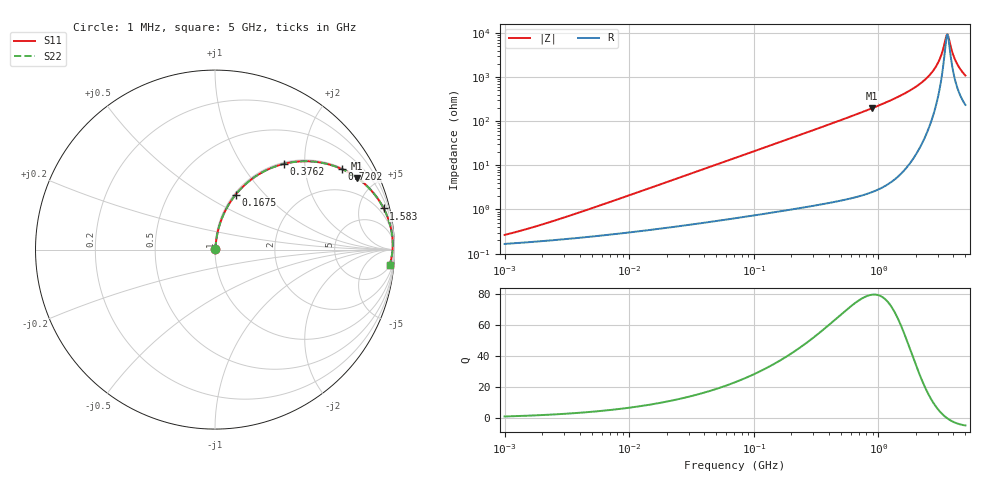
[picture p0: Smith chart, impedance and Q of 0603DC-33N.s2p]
# MHz  S  MA  R  50
!Freq  MagS11  AngS11  MagS21  AngS21  MagS12  AngS12  MagS22  AngS22
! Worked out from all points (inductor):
!   801 points, 1 MHz to 5 GHz, reference 50 ohm
!   read as one part in series: L = 33 nH near 3.091 MHz
!   highest Q = 79.5 at 891.1 MHz (marker M1), where L = 35.2 nH
!   self-resonance near 3.556 GHz
!   S11 on the Smith chart (normalised r, x): 1 MHz: 1.00, +0.00; 167.5 MHz: 1.02, +0.70; 376.2 MHz: 1.03, +1.58; 720.2 MHz: 1.04, +3.11; 1.583 GHz: 1.15, +8.16; 5 GHz: 6, -21
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1  0.00265 51.2  0.9983 -0.1  0.9983 -0.1  0.00265 51.2
4.16464  0.008918 74.5  0.9977 -0.5  0.9977 -0.5  0.008918 74.5
17.16055  0.03562 82.1  0.9958 -2.0  0.9958 -2.0  0.03562 82.1
70.71068  0.1444 79.2  0.9833 -8.3  0.9833 -8.3  0.1444 79.2
167.4965  0.3262 69.5  0.9367 -19.0  0.9367 -19.0  0.3262 69.5
294.4845  0.5193 57.6  0.8445 -31.3  0.8445 -31.3  0.5193 57.6
376.1905  0.6142 51.1  0.7786 -37.9  0.7786 -37.9  0.6142 51.1
517.749  0.7335 42.0  0.6689 -47.2  0.6689 -47.2  0.7335 42.0
720.202  0.8364 32.5  0.5373 -56.8  0.5373 -56.8  0.8364 32.5
891.1044  0.8872 26.8  0.4504 -62.5  0.4504 -62.5  0.8872 26.8
1213.434  0.9394 19.3  0.3304 -69.9  0.3304 -69.9  0.9394 19.3
1583.467  0.9673 13.7  0.237 -75.3  0.237 -75.3  0.9673 13.7
2156.238  0.985 8.1  0.1405 -79.9  0.1405 -79.9  0.985 8.1
2696.464  0.9903 4.4  0.07706 -80.6  0.07706 -80.6  0.9903 4.4
3096.727  0.9909 2.2  0.03999 -75.8  0.03999 -75.8  0.9909 2.2
3444.61  0.99 0.6  0.01461 -46.5  0.01461 -46.5  0.99 0.6
3556.405  0.9895 0.1  0.01074 -12.0  0.01074 -12.0  0.9895 0.1
3671.828  0.9889 -0.4  0.01272 28.8  0.01272 28.8  0.9889 -0.4
3998.269  0.9867 -1.6  0.03145 64.1  0.03145 64.1  0.9867 -1.6
4262.009  0.9845 -2.6  0.04779 69.7  0.04779 69.7  0.9845 -2.6
4640.919  0.9807 -3.9  0.07015 72.1  0.07015 72.1  0.9807 -3.9
5000  0.9767 -5.0  0.09002 72.5  0.09002 72.5  0.9767 -5.0
